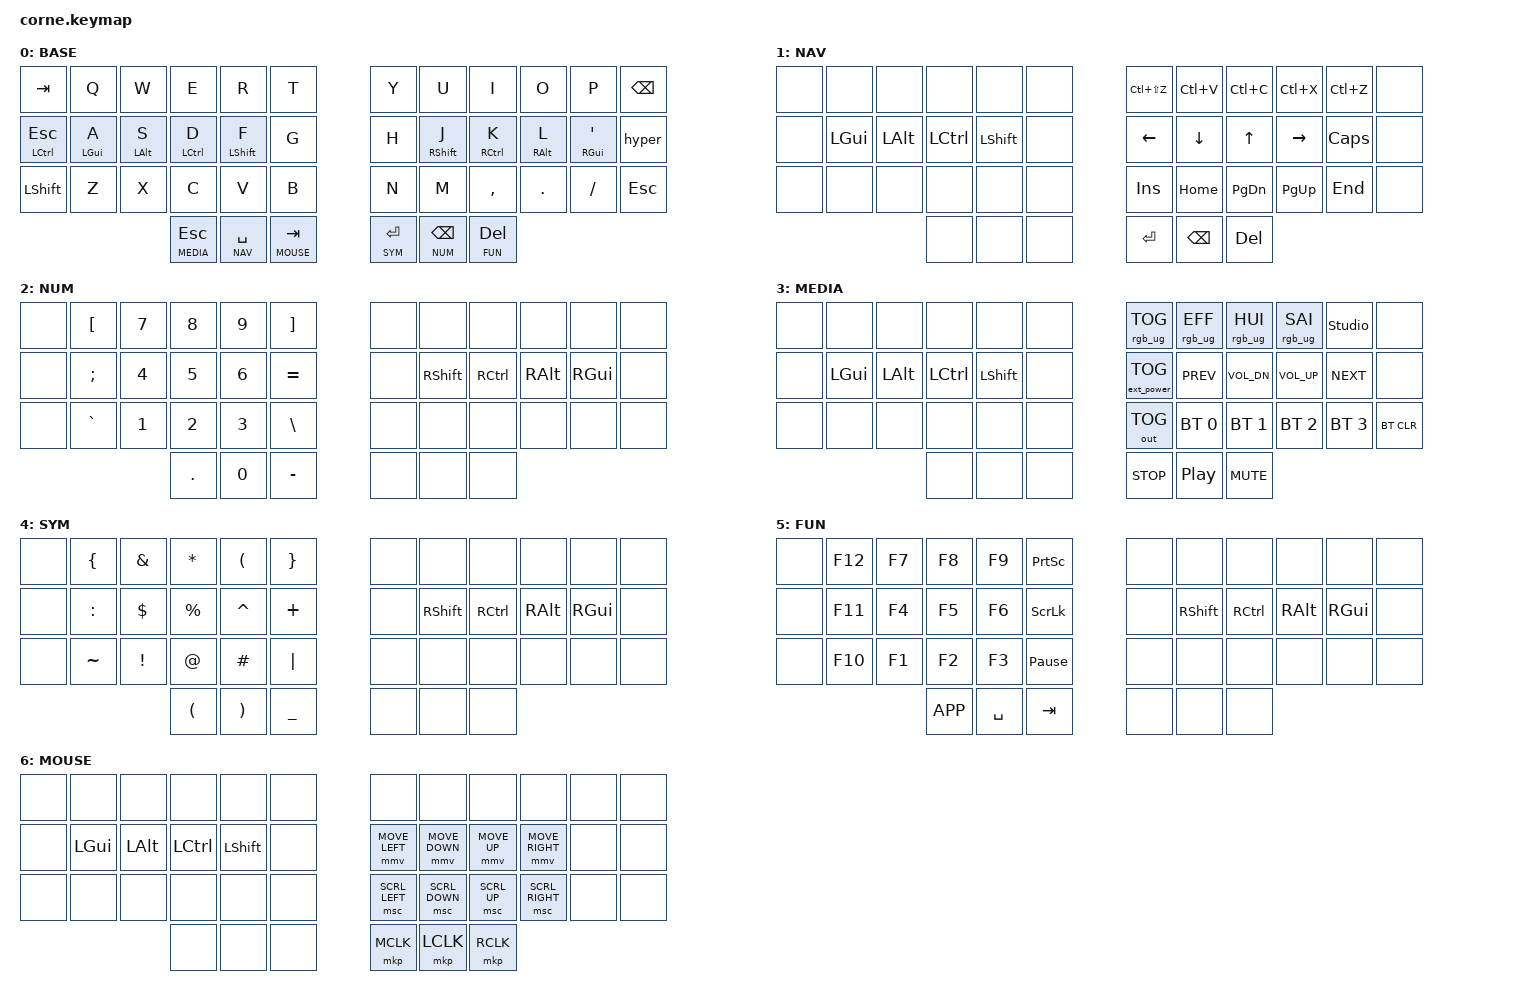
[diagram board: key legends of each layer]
/*
 * Copyright (c) 2020 The ZMK Contributors
 *
 * SPDX-License-Identifier: MIT
 */

//
//   Miryoku-style layout — QWERTY base, vim arrows (HJKL), GACS home row mods
//   Adapted from TOTEM config for Corne (42-key)
//
//   Layer 0: BASE    — QWERTY + home row mods
//   Layer 1: NAV     — vim arrows, clipboard, nav (hold SPACE)
//   Layer 2: NUM     — numpad left hand (hold BSPC)
//   Layer 3: MEDIA   — media, BT, RGB (hold ESC)
//   Layer 4: SYM     — symbols left hand (hold ENTER)
//   Layer 5: FUN     — function keys left hand (hold DEL)
//   Layer 6: MOUSE   — mouse movement, scroll, buttons (hold TAB)

#include <behaviors.dtsi>
#include <dt-bindings/zmk/bt.h>
#include <dt-bindings/zmk/ext_power.h>
#include <dt-bindings/zmk/keys.h>
#include <dt-bindings/zmk/outputs.h>
#include <dt-bindings/zmk/pointing.h>
#include <dt-bindings/zmk/rgb.h>

#define BASE  0
#define NAV   1
#define NUM   2
#define MEDIA 3
#define SYM   4
#define FUN   5
#define MOUSE 6

// Corne key positions (42 keys):
// Row 0:  0  1  2  3  4  5    6  7  8  9  10  11
// Row 1: 12 13 14 15 16 17   18 19 20 21  22  23
// Row 2: 24 25 26 27 28 29   30 31 32 33  34  35
// Thumb:          36 37 38   39 40 41

&mt {
    flavor = "tap-preferred";
    tapping-term-ms = <200>;
    quick-tap-ms = <175>;
    require-prior-idle-ms = <150>;
};

&lt {
    flavor = "balanced";
    tapping-term-ms = <200>;
    quick-tap-ms = <175>;
};

/ {
    combos {
        compatible = "zmk,combos";

        // -- Bootloader (hardware access regardless of layer) --

        // Left half bootloader: TAB (0) + Q (1)
        combo_bootloader_left {
            bindings = <&bootloader>;
            key-positions = <0 1>;
            timeout-ms = <50>;
            require-prior-idle-ms = <150>;
        };

        // Right half bootloader: P (10) + BSPC (11)
        // Allows flashing the right half over USB even when left is off
        combo_bootloader_right {
            bindings = <&bootloader>;
            key-positions = <10 11>;
            timeout-ms = <50>;
            require-prior-idle-ms = <150>;
        };

        // Studio unlock combo: TAB (0) + ESC (12)
        combo_studio_unlock {
            bindings = <&studio_unlock>;
            key-positions = <0 12>;
            timeout-ms = <50>;
            require-prior-idle-ms = <150>;
        };

        // -- Tier 1: Essential --

        combo_caps_word {
            bindings = <&caps_word>;
            key-positions = <16 19>;        // F + J (index home row)
            timeout-ms = <30>;
            require-prior-idle-ms = <150>;
        };

        combo_esc {
            bindings = <&kp ESC>;
            key-positions = <2 3>;          // W + E
            timeout-ms = <30>;
            require-prior-idle-ms = <150>;
        };

        combo_bspc {
            bindings = <&kp BSPC>;
            key-positions = <8 9>;          // I + O
            timeout-ms = <30>;
            require-prior-idle-ms = <150>;
        };

        combo_del {
            bindings = <&kp DEL>;
            key-positions = <9 10>;         // O + P
            timeout-ms = <30>;
            require-prior-idle-ms = <150>;
        };

        // -- Tier 2: High Value --

        combo_tab {
            bindings = <&kp TAB>;
            key-positions = <14 15>;        // S + D
            timeout-ms = <30>;
            require-prior-idle-ms = <150>;
        };

        combo_enter {
            bindings = <&kp RET>;
            key-positions = <20 21>;        // K + L
            timeout-ms = <30>;
            require-prior-idle-ms = <150>;
        };

        // Linux/Windows clipboard combos (Ctrl)
        combo_copy {
            bindings = <&kp LC(C)>;
            key-positions = <26 27>;        // X + C
            timeout-ms = <30>;
            require-prior-idle-ms = <150>;
        };

        combo_paste {
            bindings = <&kp LC(V)>;
            key-positions = <27 28>;        // C + V
            timeout-ms = <30>;
            require-prior-idle-ms = <150>;
        };

        combo_cut {
            bindings = <&kp LC(X)>;
            key-positions = <26 28>;        // X + V (skip middle)
            timeout-ms = <30>;
            require-prior-idle-ms = <150>;
        };

        // -- Tier 3: Vertical Symbol Combos --

        combo_minus {
            bindings = <&kp MINUS>;
            key-positions = <19 31>;        // J + M (right index vertical)
            timeout-ms = <40>;
            require-prior-idle-ms = <100>;
        };

        combo_underscore {
            bindings = <&kp UNDER>;
            key-positions = <18 30>;        // H + N (right inner vertical)
            timeout-ms = <40>;
            require-prior-idle-ms = <100>;
        };

        combo_equal {
            bindings = <&kp EQUAL>;
            key-positions = <16 28>;        // F + V (left index vertical)
            timeout-ms = <40>;
            require-prior-idle-ms = <100>;
        };

        combo_grave {
            bindings = <&kp GRAVE>;
            key-positions = <14 26>;        // S + X (left ring vertical)
            timeout-ms = <40>;
            require-prior-idle-ms = <100>;
        };

        combo_semi {
            bindings = <&kp SEMI>;
            key-positions = <21 22>;        // L + ' (right ring+pinky home)
            timeout-ms = <30>;
            require-prior-idle-ms = <150>;
        };
    };

    macros {
        hyper: hyper {
            compatible = "zmk,behavior-macro";
            #binding-cells = <0>;
            bindings =
                <&macro_press &kp LGUI &kp LALT &kp LCTRL &kp LSHFT>,
                <&macro_pause_for_release>,
                <&macro_release &kp LGUI &kp LALT &kp LCTRL &kp LSHFT>;
        };
    };

    keymap {
        compatible = "zmk,keymap";

        base_layer {
            display-name = "BASE";
            bindings = <
&kp TAB        &kp Q       &kp W       &kp E         &kp R         &kp T          &kp Y       &kp U         &kp I         &kp O        &kp P        &kp BSPC
&mt LCTRL ESC  &mt LGUI A  &mt LALT S  &mt LCTRL D   &mt LSHFT F   &kp G          &kp H       &mt RSHFT J   &mt RCTRL K   &mt RALT L   &mt RGUI SQT &hyper
&kp LSHFT      &kp Z       &kp X       &kp C         &kp V         &kp B          &kp N       &kp M         &kp COMMA     &kp DOT      &kp FSLH     &kp ESC
                                        &lt MEDIA ESC &lt NAV SPACE &lt MOUSE TAB  &lt SYM RET &lt NUM BSPC  &lt FUN DEL
            >;
        };

        nav_layer {
            display-name = "NAV";
            bindings = <
&none          &none       &none       &none         &none         &none          &kp LC(LS(Z)) &kp LC(V)   &kp LC(C)     &kp LC(X)    &kp LC(Z)    &none
&none          &kp LGUI    &kp LALT    &kp LCTRL     &kp LSHFT     &none          &kp LEFT    &kp DOWN      &kp UP        &kp RIGHT    &kp CAPS     &none
&none          &none       &none       &none         &none         &none          &kp INS     &kp HOME      &kp PG_DN     &kp PG_UP    &kp END      &none
                                       &none         &none         &none          &kp RET     &kp BSPC      &kp DEL
            >;
        };

        num_layer {
            display-name = "NUM";
            bindings = <
&none          &kp LBKT    &kp N7      &kp N8        &kp N9        &kp RBKT       &none       &none         &none         &none        &none        &none
&none          &kp SEMI    &kp N4      &kp N5        &kp N6        &kp EQUAL      &none       &kp RSHFT     &kp RCTRL     &kp RALT     &kp RGUI     &none
&none          &kp GRAVE   &kp N1      &kp N2        &kp N3        &kp BSLH       &none       &none         &none         &none        &none        &none
                                       &kp DOT       &kp N0        &kp MINUS      &none       &none         &none
            >;
        };

        media_layer {
            display-name = "MEDIA";
            bindings = <
&none          &none       &none       &none         &none         &none          &rgb_ug RGB_TOG &rgb_ug RGB_EFF &rgb_ug RGB_HUI &rgb_ug RGB_SAI &studio_unlock &none
&none          &kp LGUI    &kp LALT    &kp LCTRL     &kp LSHFT     &none          &ext_power EP_TOG &kp C_PREV  &kp C_VOL_DN  &kp C_VOL_UP &kp C_NEXT   &none
&none          &none       &none       &none         &none         &none          &out OUT_TOG &bt BT_SEL 0  &bt BT_SEL 1  &bt BT_SEL 2 &bt BT_SEL 3 &bt BT_CLR
                                       &none         &none         &none          &kp C_STOP  &kp C_PP      &kp C_MUTE
            >;
        };

        sym_layer {
            display-name = "SYM";
            bindings = <
&none          &kp LBRC    &kp AMPS    &kp ASTRK     &kp LPAR      &kp RBRC       &none       &none         &none         &none        &none        &none
&none          &kp COLON   &kp DLLR    &kp PRCNT     &kp CARET     &kp PLUS       &none       &kp RSHFT     &kp RCTRL     &kp RALT     &kp RGUI     &none
&none          &kp TILDE   &kp EXCL    &kp AT        &kp HASH      &kp PIPE       &none       &none         &none         &none        &none        &none
                                       &kp LPAR      &kp RPAR      &kp UNDER      &none       &none         &none
            >;
        };

        fun_layer {
            display-name = "FUN";
            bindings = <
&none          &kp F12     &kp F7      &kp F8        &kp F9        &kp PSCRN      &none       &none         &none         &none        &none        &none
&none          &kp F11     &kp F4      &kp F5        &kp F6        &kp SLCK       &none       &kp RSHFT     &kp RCTRL     &kp RALT     &kp RGUI     &none
&none          &kp F10     &kp F1      &kp F2        &kp F3        &kp PAUSE_BREAK &none      &none         &none         &none        &none        &none
                                       &kp K_APP     &kp SPACE     &kp TAB        &none       &none         &none
            >;
        };

        mouse_layer {
            display-name = "MOUSE";
            bindings = <
&none          &none       &none       &none         &none         &none          &none            &none            &none          &none             &none        &none
&none          &kp LGUI    &kp LALT    &kp LCTRL     &kp LSHFT     &none          &mmv MOVE_LEFT   &mmv MOVE_DOWN   &mmv MOVE_UP   &mmv MOVE_RIGHT   &none        &none
&none          &none       &none       &none         &none         &none          &msc SCRL_LEFT   &msc SCRL_DOWN   &msc SCRL_UP   &msc SCRL_RIGHT   &none        &none
                                       &none         &none         &none          &mkp MCLK        &mkp LCLK        &mkp RCLK
            >;
        };
    };
};
